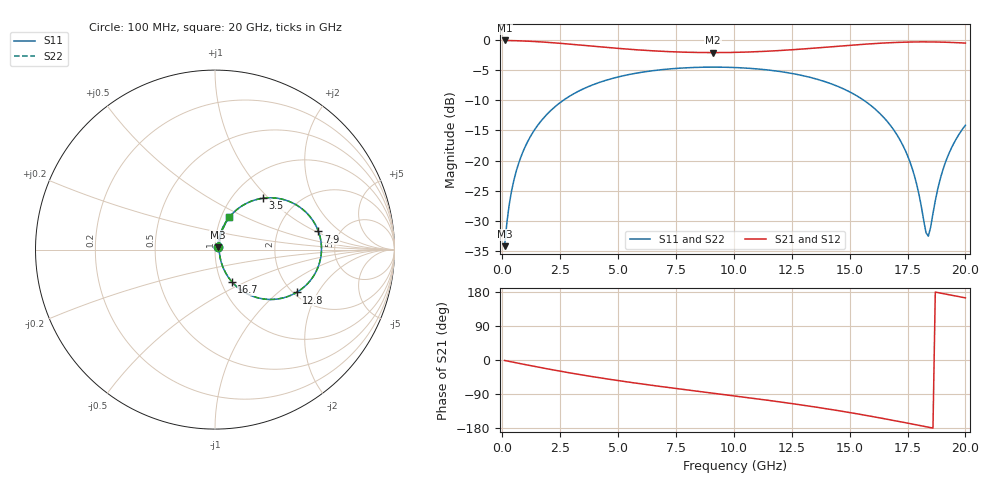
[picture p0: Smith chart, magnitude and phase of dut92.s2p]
! Touchstone file exported from HFSS 2026.1.0
!  File:  C:/ffzhzh/LocalFiles/Ansys_Project_Files/temp_train_TSV_RDL_92_1782973185_45568.aedt
!  Generated:  02:31:04 PM Jul  2, 2026
!  Design:  TSV_RDL
!  Project:  temp_train_TSV_RDL_92_1782973185_45568
! Variables:
!  h_bsmrdl = 5.59um
!  h_ox = 20um
!  h_rdl = 5um
!  h_sub = 94.48um
!  h_tmrdl = 4.84um
!  h_tsv = 94.48um
!  h_via = 3um
!  l_bsmrdl = 361.02um
!  l_sub = 3045.96um
!  l_tmrdl = 369.35um
!  m_sub = 200um
!  pitch = 53.15um
!  r_tsv = 8.7um
!  s_tmrdl = 10um
!  w_bsmrdl = 11.34um
!  w_sub = 500um
!  w_tmrdl = 17.16um
!  x_tsv_center1 = 377.93um
!  x_tsv_center2 = 750.29um
!  x_tsv_center3 = 1136.8um
!  x_tsv_center4 = 1509.16um
!  x_tsv_center5 = 1895.67um
!  x_tsv_center6 = 2268.03um
# GHz S MA R 50.000000
! Terminal data exported
! Port[1] = TM_RDL1_1_T1
! Port[2] = TM_RDL5_1_T1
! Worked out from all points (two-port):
!   200 points, 100 MHz to 20 GHz, reference 50 ohm
!   highest |S21| = -0.12 dB at 100 MHz (marker M1); lowest = -2.1 dB at 9.1 GHz (marker M2)
!   |S21| within 3 dB of the highest: start of sweep to end of sweep
!   lowest |S11| = -34.2 dB at 100 MHz (marker M3), VSWR 1.04, Z = 51.4 + j1.38 ohm
!   |S11| at or under -10 dB: start of sweep to 2.646 GHz; 15.6 GHz to end of sweep
!   |S22| runs from -34.2 to -4.5 dB; largest |S21 - S12| = 4.9e-14
!   S11 on the Smith chart (normalised r, x): 100 MHz: 1.03, +0.03; 3.5 GHz: 1.37, +0.93; 7.9 GHz: 3.47, +1.06; 12.8 GHz: 2.08, -1.34; 16.7 GHz: 1.12, -0.42; 20 GHz: 1.09, +0.41
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0.1  0.01958 43.4  0.986 -1.3  0.986 -1.3  0.01958 43.4
! Gamma 0 0 0 0
! Port Impedance 50 0 50 0
0.3  0.04333 66.4  0.9845 -3.8  0.9845 -3.8  0.04333 66.4
0.5  0.06876 70.8  0.9823 -6.2  0.9823 -6.2  0.06876 70.8
1.1  0.144 69.8  0.9727 -13.4  0.9727 -13.4  0.144 69.8
2.1  0.2601 60.8  0.9467 -25.1  0.9467 -25.1  0.2601 60.8
3.5  0.3922 46.9  0.8986 -40.0  0.8986 -40.0  0.3922 46.9
6.8  0.5629 18.4  0.8035 -69.6  0.8035 -69.6  0.5629 18.4
7.9  0.5851 9.9  0.7882 -78.3  0.7882 -78.3  0.5851 9.9
9.1  0.5934 1.0  0.7823 -87.6  0.7823 -87.6  0.5934 1.0
10.1  0.588 -6.5  0.7861 -95.3  0.7861 -95.3  0.5881 -6.5
12.8  0.513 -27.7  0.8332 -117.6  0.8332 -117.6  0.5131 -27.7
13.4  0.4823 -32.8  0.8497 -123.0  0.8497 -123.0  0.4823 -32.8
15.3  0.3443 -50.0  0.9077 -141.8  0.9077 -141.8  0.3443 -50.0
16.7  0.2025 -62.4  0.9438 -157.2  0.9438 -157.2  0.2025 -62.3
17.6  0.09827 -65.5  0.9569 -167.7  0.9569 -167.7  0.0983 -65.4
17.9  0.06324 -61.0  0.9589 -171.3  0.9589 -171.3  0.0633 -60.9
18.3  0.02526 -19.0  0.9596 -176.1  0.9596 -176.1  0.02538 -18.9
18.4  0.02371 9.0  0.9594 -177.3  0.9594 -177.3  0.02383 8.9
18.8  0.05754 62.7  0.9571 178.0  0.9571 178.0  0.05759 62.5
19.1  0.0922 68.5  0.9539 174.4  0.9539 174.4  0.09223 68.5
19.5  0.139 69.0  0.9478 169.8  0.9478 169.8  0.139 68.9
20  0.1959 66.2  0.9375 164.0  0.9375 164.0  0.196 66.2
